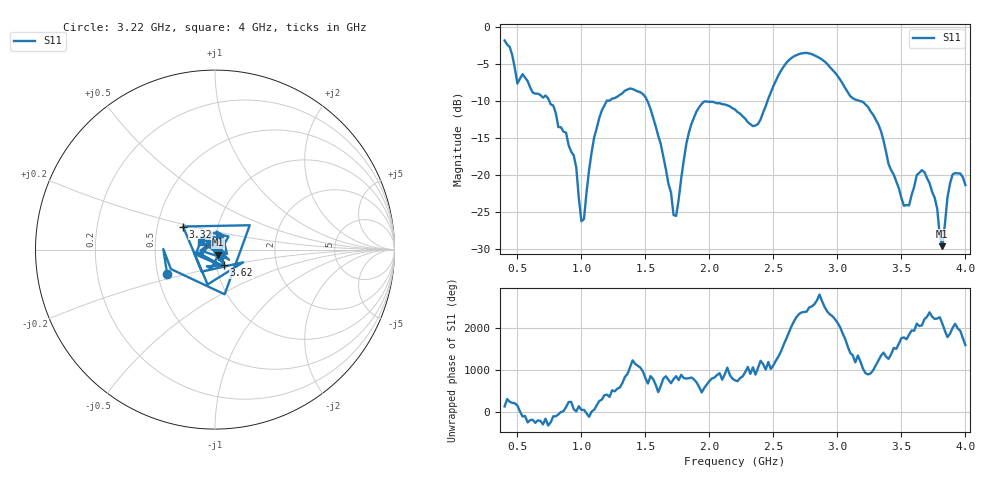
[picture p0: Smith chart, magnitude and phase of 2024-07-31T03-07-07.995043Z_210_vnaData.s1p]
!Created with skrf (http://scikit-rf.org).
# Hz S RI R 50.0
!freq ReS11 ImS11
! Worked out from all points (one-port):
!   181 points, 400 MHz to 4 GHz, reference 50 ohm
!   lowest |S11| = -29.6 dB at 3.82 GHz (marker M1), VSWR 1.07, Z = 51.5 - j3 ohm
!   |S11| at or under -10 dB: 748.9 MHz to 1.198 GHz (449.1 MHz wide, 46.1 % of centre); 1.515 GHz to 2.454 GHz (938.4 MHz wide, 47.3 % of centre); 3.176 GHz to end of sweep
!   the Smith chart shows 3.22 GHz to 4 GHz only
!   S11 on the Smith chart (normalised r, x): 3.22 GHz: 0.56, -0.17; 3.32 GHz: 0.68, +0.18; 3.62 GHz: 1.09, -0.19; 4 GHz: 0.86, +0.07
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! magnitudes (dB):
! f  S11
! 400 MHz  -1.8
! 500 MHz  -7.6
! 720 MHz  -9.3
! 860 MHz  -14.1
! 960 MHz  -19.0
! 1 GHz  -26.2
! 1.14 GHz  -12.3
! 1.3 GHz  -9.2
! 1.5 GHz  -9.5
! 1.62 GHz  -15.8
! 1.72 GHz  -25.4
! 1.76 GHz  -23.3
! 1.82 GHz  -15.7
! 1.92 GHz  -10.8
! 2.2 GHz  -11.1
! 2.38 GHz  -13.1
! 2.66 GHz  -4.0
! 2.88 GHz  -4.4
! 3.1 GHz  -9.3
! 3.22 GHz  -10.5
! 3.32 GHz  -13.2
! 3.52 GHz  -24.1
! 3.56 GHz  -24.1
! 3.62 GHz  -20.0
! 3.72 GHz  -21.1
! 3.82 GHz  -29.6
! 3.9 GHz  -19.9
! 4 GHz  -21.3
